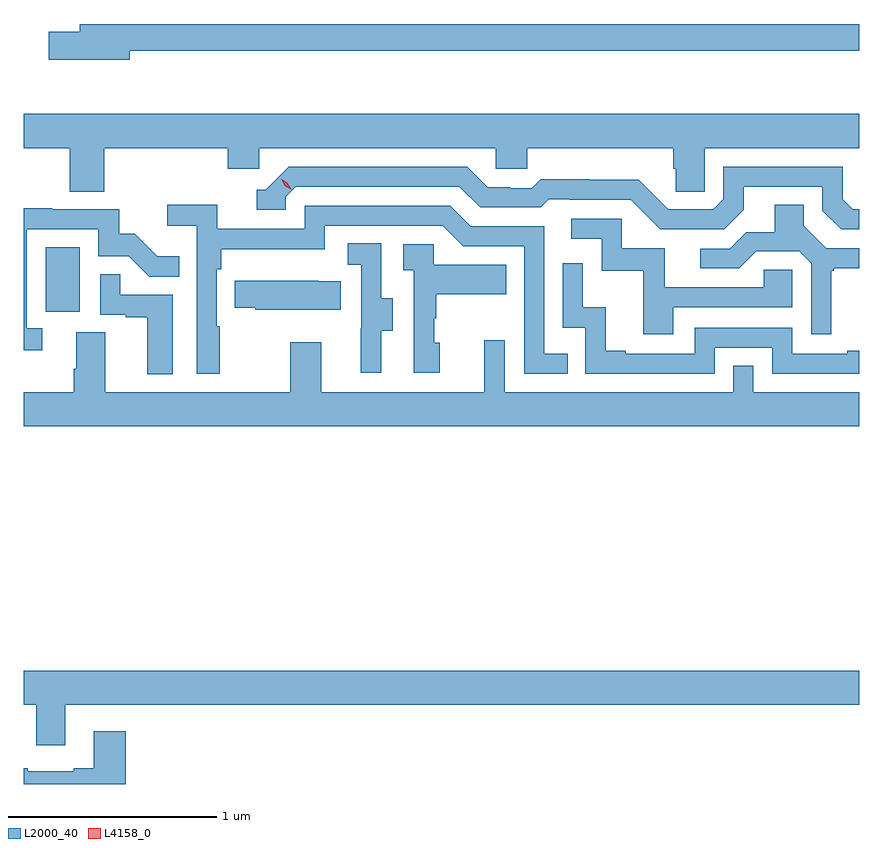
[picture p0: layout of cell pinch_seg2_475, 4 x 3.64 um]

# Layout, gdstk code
import gdstk
lib = gdstk.Library(unit=1e-6, precision=1e-09)
def R(c, l, rs):  # rectangles x0, y0, x1, y1
    for r in rs: c.add(gdstk.rectangle(r[:2], r[2:], *l))
def P(c, l, *ps):  # polygons
    for p in ps: c.add(gdstk.Polygon(p, *l))
L2000_40 = (2000, 40)
L4158_0 = (4158, 0)

pinch_seg2_475 = lib.new_cell('pinch_seg2_475')
R(pinch_seg2_475, L2000_40, [(947.204,596.238,947.368,596.545)])
P(pinch_seg2_475, L2000_40, [(947.608,597.486),(951.099,597.486),(951.099,597.614),(947.369,597.614),(947.369,597.578),(947.22,597.578),(947.22,597.443),(947.608,597.443)],
  [(947.486,597.02),(948.077,597.02),(948.077,596.922),(948.228,596.922),(948.228,597.02),(949.359,597.02),(949.359,596.922),(949.509,596.922),(949.509,597.02),(950.207,597.02),(950.207,596.922),(950.221,596.922),(950.221,596.812),(950.358,596.812),(950.358,597.02),(951.099,597.02),(951.099,597.184),(947.099,597.184),(947.099,597.02),(947.321,597.02),(947.321,596.812),(947.486,596.812)],
  [(950.545,596.725),(950.545,596.835),(950.922,596.835),(950.922,596.721),(951.012,596.631),(951.099,596.631),(951.099,596.727),(951.066,596.727),(951.018,596.775),(951.018,596.931),(950.448,596.931),(950.448,596.775),(950.4,596.727),(950.184,596.727),(950.042,596.869),(949.806,596.869),(949.806,596.872),(949.573,596.872),(949.531,596.829),(949.428,596.829),(949.428,596.832),(949.321,596.832),(949.222,596.931),(948.369,596.931),(948.258,596.82),(948.215,596.82),(948.215,596.724),(948.354,596.724),(948.354,596.787),(948.402,596.835),(949.185,596.835),(949.284,596.736),(949.573,596.736),(949.612,596.775),(949.711,596.775),(949.711,596.772),(950.004,596.772),(950.145,596.631),(950.451,596.631)],
  [(950.965,596.433),(950.977,596.433),(950.977,596.444),(951.099,596.444),(951.099,596.541),(950.94,596.541),(950.833,596.648),(950.833,596.75),(950.693,596.75),(950.693,596.618),(950.558,596.618),(950.478,596.538),(950.337,596.538),(950.337,596.445),(950.524,596.445),(950.605,596.526),(950.811,596.526),(950.868,596.469),(950.868,596.13),(950.965,596.13)],
  [(948.037,596.168),(948.024,596.168),(948.024,596.441),(948.044,596.441),(948.044,596.537),(948.54,596.537),(948.54,596.649),(949.104,596.649),(949.203,596.55),(949.494,596.55),(949.494,595.941),(949.703,595.941),(949.703,596.037),(949.59,596.037),(949.59,596.646),(949.24,596.646),(949.141,596.745),(948.444,596.745),(948.444,596.634),(948.026,596.634),(948.026,596.75),(947.787,596.75),(947.787,596.648),(947.928,596.648),(947.928,595.941),(948.037,595.941)],
  [(947.188,596.157),(947.115,596.157),(947.115,596.631),(947.457,596.631),(947.457,596.502),(947.602,596.502),(947.7,596.404),(947.843,596.404),(947.843,596.503),(947.739,596.503),(947.632,596.61),(947.556,596.61),(947.556,596.727),(947.237,596.727),(947.237,596.732),(947.099,596.732),(947.099,596.052),(947.188,596.052)],
  [(950.209,596.259),(950.778,596.259),(950.778,596.439),(950.641,596.439),(950.641,596.355),(950.167,596.355),(950.167,596.541),(949.962,596.541),(949.962,596.682),(949.719,596.682),(949.719,596.586),(949.866,596.586),(949.866,596.433),(950.065,596.433),(950.065,596.13),(950.209,596.13)],
  [(948.811,596.146),(948.865,596.146),(948.865,596.301),(948.81,596.301),(948.81,596.564),(948.651,596.564),(948.651,596.461),(948.714,596.461),(948.714,596.157),(948.713,596.157),(948.713,595.944),(948.811,595.944)],
  [(949.09,596.088),(949.065,596.088),(949.065,596.207),(949.075,596.207),(949.075,596.321),(949.409,596.321),(949.409,596.461),(949.062,596.461),(949.062,596.559),(948.915,596.559),(948.915,596.435),(948.966,596.435),(948.966,595.944),(949.09,595.944)],
  [(950.406,596.064),(950.682,596.064),(950.682,595.941),(951.099,595.941),(951.099,596.05),(951.041,596.05),(951.041,596.037),(950.778,596.037),(950.778,596.16),(950.31,596.16),(950.31,596.037),(949.981,596.037),(949.981,596.05),(949.886,596.05),(949.886,596.258),(949.776,596.258),(949.776,596.47),(949.68,596.47),(949.68,596.16),(949.788,596.16),(949.788,595.941),(950.406,595.941)],
  [(947.812,596.319),(947.561,596.319),(947.561,596.417),(947.466,596.417),(947.466,596.223),(947.587,596.223),(947.587,596.211),(947.69,596.211),(947.69,595.937),(947.812,595.937)],
  [(948.617,596.383),(948.509,596.383),(948.509,596.386),(948.109,596.386),(948.109,596.257),(948.207,596.257),(948.207,596.246),(948.617,596.246)],
  [(951.099,595.852),(950.592,595.852),(950.592,595.979),(950.496,595.979),(950.496,595.852),(949.401,595.852),(949.401,596.101),(949.304,596.101),(949.304,595.852),(948.523,595.852),(948.523,596.092),(948.376,596.092),(948.376,595.852),(947.491,595.852),(947.491,596.138),(947.351,596.138),(947.351,595.964),(947.339,595.964),(947.339,595.852),(947.099,595.852),(947.099,595.688),(951.099,595.688)],
  [(947.099,594.356),(947.159,594.356),(947.159,594.162),(947.299,594.162),(947.299,594.356),(951.099,594.356),(951.099,594.52),(947.099,594.52)],
  [(947.588,594.229),(947.435,594.229),(947.435,594.052),(947.339,594.052),(947.339,594.039),(947.119,594.039),(947.119,594.052),(947.099,594.052),(947.099,593.977),(947.588,593.977)])
P(pinch_seg2_475, L4158_0, [(948.378,596.822),(948.348,596.84),(948.331,596.873),(948.331,596.873),(948.331,596.873),(948.362,596.854),(948.379,596.822),(948.379,596.822)])

lib.write_gds('pinch_seg2_475.gds')
